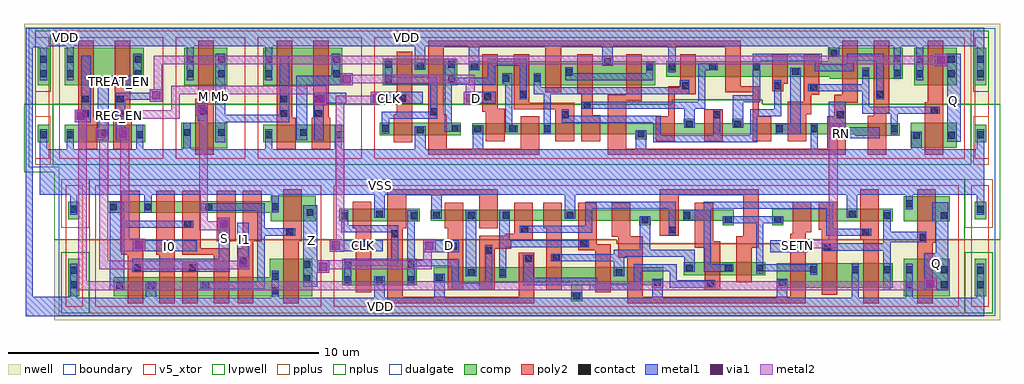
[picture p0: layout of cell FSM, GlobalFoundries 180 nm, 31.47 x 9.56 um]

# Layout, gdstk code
from math import pi, radians
import gdstk
lib = gdstk.Library(unit=1e-6, precision=1e-09)
def R(c, l, rs):  # rectangles x0, y0, x1, y1
    for r in rs: c.add(gdstk.rectangle(r[:2], r[2:], *l))
def A(c, l, x, y, w, h, nx, ny, dx, dy):  # array of equal rectangles
    R(c, l, [(x+i*dx, y+j*dy, x+i*dx+w, y+j*dy+h) for i in range(nx) for j in range(ny)])
def P(c, l, *ps):  # polygons
    for p in ps: c.add(gdstk.Polygon(p, *l))
boundary = (0, 0)
nwell = (21, 0)
comp = (22, 0)
poly2 = (30, 0)
pplus = (31, 0)
nplus = (32, 0)
contact = (33, 0)
metal1 = (34, 0)
via1 = (35, 0)
metal2 = (36, 0)
dualgate = (55, 0)
v5_xtor = (112, 1)
lvpwell = (204, 0)

mux21 = lib.new_cell('mux21')
R(mux21, boundary, [(-14.655,13.69,-7.375,17.61)])
R(mux21, nwell, [(-15.085,13.26,-7.035,15.85)])
P(mux21, comp, [(-14.475,16.45),(-14.475,17.27),(-13.035,17.27),(-13.035,17.09),(-7.775,17.09),(-7.775,16.73),(-13.035,16.73),(-13.035,16.45)],
  [(-14.375,14.03),(-14.375,15.25),(-12.995,15.25),(-12.995,14.645),(-7.975,14.645),(-7.975,14.03)])
R(mux21, poly2, [(-10.675,13.81,-10.175,15.135), (-11.895,15.815,-11.295,17.435)])
P(mux21, poly2, [(-8.915,13.81),(-8.915,15.815),(-8.815,15.815),(-8.815,17.435),(-8.215,17.435),(-8.215,15.375),(-8.415,15.375),(-8.415,13.81)],
  [(-9.935,13.81),(-9.935,17.435),(-9.335,17.435),(-9.335,15.375),(-9.435,15.375),(-9.435,13.81)],
  [(-11.695,13.81),(-11.695,15.575),(-10.775,15.575),(-10.775,17.435),(-10.175,17.435),(-10.175,15.375),(-11.195,15.375),(-11.195,13.81)],
  [(-12.47,13.81),(-12.47,15.815),(-12.735,15.815),(-12.735,17.435),(-12.135,17.435),(-12.135,15.575),(-11.97,15.575),(-11.97,13.81)],
  [(-13.935,13.81),(-13.935,15.815),(-14.035,15.815),(-14.035,17.49),(-13.435,17.49),(-13.435,13.81)])
R(mux21, pplus, [(-14.855,13.49,-7.175,15.85)])
R(mux21, nplus, [(-14.855,15.85,-7.175,17.81)])
R(mux21, contact, [(-13.285,14.1,-13.065,14.32), (-11.045,14.275,-10.825,14.495), (-9.285,14.275,-9.065,14.495), (-8.265,14.275,-8.045,14.495), (-14.305,14.49,-14.085,14.71), (-13.285,14.57,-13.065,14.79), (-10.605,14.845,-10.385,15.065), (-8.845,14.845,-8.625,15.065), (-14.305,14.96,-14.085,15.18), (-12.26,15.085,-12.04,15.305), (-9.795,15.54,-9.575,15.76), (-11.635,15.885,-11.415,16.105), (-13.755,15.99,-13.535,16.21), (-10.465,16.24,-10.245,16.46), (-14.405,16.625,-14.185,16.845), (-11.145,16.8,-10.925,17.02), (-9.185,16.8,-8.965,17.02), (-8.065,16.8,-7.845,17.02), (-13.285,16.805,-13.065,17.025)])
R(mux21, metal1, [(-14.525,14.34,-14.08,16.96), (-12.325,14.9,-11.945,16.4), (-10.645,15.49,-8.585,15.84)])
P(mux21, metal1, [(-9.19,16.73),(-9.19,17.31),(-13.06,17.31),(-13.06,16.745),(-13.29,16.745),(-13.29,17.31),(-14.655,17.31),(-14.655,18.17),(-7.375,18.17),(-7.375,17.31),(-8.96,17.31),(-8.96,16.73)],
  [(-14.655,13.39),(-14.655,13.99),(-13.29,13.99),(-13.29,14.85),(-13.06,14.85),(-13.06,13.99),(-9.345,13.99),(-9.345,14.505),(-9.005,14.505),(-9.005,13.99),(-7.375,13.99),(-7.375,13.39)],
  [(-8.305,14.23),(-8.305,16.235),(-10.53,16.235),(-10.53,16.465),(-8.305,16.465),(-8.305,17.08),(-7.84,17.08),(-7.84,14.23)],
  [(-11.715,14.825),(-11.715,16.165),(-11.36,16.165),(-11.36,15.25),(-8.565,15.25),(-8.565,14.825)],
  [(-12.83,14.27),(-12.83,15.985),(-13.815,15.985),(-13.815,16.22),(-12.83,16.22),(-12.83,17.035),(-10.775,17.035),(-10.775,16.795),(-12.6,16.795),(-12.6,14.5),(-10.765,14.5),(-10.765,14.27)])
R(mux21, dualgate, [(-14.935,13.41,-7.095,18.19)])
R(mux21, v5_xtor, [(-14.655,13.69,-7.375,17.61)])
R(mux21, lvpwell, [(-15.085,15.85,-7.035,18.04)])
mux21.add(gdstk.Label('& Metric 1.00', (-15.115,17.11), layer=63, texttype=63))
mux21.add(gdstk.Label('& Version 2015q2v1', (-15.115,16.61), layer=63, texttype=63))
mux21.add(gdstk.Label('& Product GF018hv5v_mcu_sc7', (-15.115,16.11), layer=63, texttype=63))
mux21.add(gdstk.Label('& Vendor GLOBALFOUNDRIES', (-15.115,15.61), layer=63, texttype=63))
mux21.add(gdstk.Label('VNW', (-14.31,13.69), layer=21, texttype=10))
mux21.add(gdstk.Label('VPW', (-14.315,17.695), layer=204, texttype=10))

inv1 = lib.new_cell('inv1')
R(inv1, boundary, [(-41.18,23.355,-38.94,27.275)])
R(inv1, comp, [(-41,23.695,-39.52,24.515), (-40.9,25.715,-39.52,26.935)])
P(inv1, poly2, [(-40.56,23.475),(-40.56,25.285),(-40.46,25.285),(-40.46,27.155),(-39.96,27.155),(-39.96,23.475)])
R(inv1, pplus, [(-41.38,25.115,-38.74,27.475)])
R(inv1, nplus, [(-41.38,23.155,-38.74,25.115)])
R(inv1, contact, [(-40.93,24.09,-40.71,24.31), (-39.81,24.09,-39.59,24.31), (-40.39,24.775,-40.17,24.995), (-40.39,25.245,-40.17,25.465), (-40.83,25.985,-40.61,26.205), (-39.81,25.985,-39.59,26.205), (-40.83,26.455,-40.61,26.675), (-39.81,26.455,-39.59,26.675)])
R(inv1, metal1, [(-39.915,23.885,-39.585,26.745), (-40.47,24.555,-40.145,25.555)])
P(inv1, metal1, [(-41.18,23.055),(-41.18,23.655),(-40.935,23.655),(-40.935,24.515),(-40.705,24.515),(-40.705,23.655),(-38.94,23.655),(-38.94,23.055)],
  [(-40.835,25.885),(-40.835,26.975),(-41.18,26.975),(-41.18,27.575),(-38.94,27.575),(-38.94,26.975),(-40.605,26.975),(-40.605,25.885)])
R(inv1, dualgate, [(-41.46,23.075,-38.66,27.555)])
R(inv1, v5_xtor, [(-41.18,23.355,-38.94,27.275)])
R(inv1, lvpwell, [(-41.61,22.925,-38.51,25.115)])
inv1.add(gdstk.Label('& Vendor GLOBALFOUNDRIES', (-41.18,25.355), layer=63, texttype=63))
inv1.add(gdstk.Label('& Product GF018hv5v_mcu_sc7', (-41.18,24.855), layer=63, texttype=63))
inv1.add(gdstk.Label('& Version 2015q2v1', (-41.18,24.355), layer=63, texttype=63))
inv1.add(gdstk.Label('& Metric 1.00', (-41.18,23.855), layer=63, texttype=63))
inv1.add(gdstk.Label('VNW', (-40.835,27.275), layer=21, texttype=10))
inv1.add(gdstk.Label('VPW', (-40.84,23.27), layer=204, texttype=10))

nor2_2 = lib.new_cell('nor2_2')
R(nor2_2, boundary, [(-19.745,7.125,-16.385,11.045)])
R(nor2_2, nwell, [(-20.175,8.885,-16.185,11.475)])
R(nor2_2, comp, [(-19.565,7.65,-16.965,8.215), (-19.565,9.485,-17.015,10.705)])
P(nor2_2, poly2, [(-19.125,7.43),(-19.125,10.925),(-18.625,10.925),(-18.625,8.44),(-18.525,8.44),(-18.525,7.43)],
  [(-18.005,7.43),(-18.005,8.44),(-17.955,8.44),(-17.955,10.925),(-17.455,10.925),(-17.455,8.44),(-17.405,8.44),(-17.405,7.43)])
R(nor2_2, pplus, [(-19.945,8.885,-16.185,11.245)])
R(nor2_2, nplus, [(-19.945,6.925,-16.185,8.885)])
R(nor2_2, contact, [(-19.495,7.79,-19.275,8.01), (-17.255,7.79,-17.035,8.01), (-18.375,7.86,-18.155,8.08), (-19.005,8.47,-18.785,8.69), (-17.885,8.47,-17.665,8.69), (-19.005,8.94,-18.785,9.16), (-17.885,8.94,-17.665,9.16), (-19.495,9.755,-19.275,9.975), (-17.305,9.755,-17.085,9.975), (-19.495,10.225,-19.275,10.445), (-17.305,10.225,-17.085,10.445)])
R(nor2_2, metal1, [(-19.04,8.305,-18.735,10.445)])
P(nor2_2, metal1, [(-18.505,7.725),(-18.505,9.805),(-17.36,9.805),(-17.36,10.505),(-17.08,10.505),(-17.08,9.485),(-18.15,9.485),(-18.15,7.725)],
  [(-17.92,7.725),(-17.92,9.255),(-16.89,9.255),(-16.89,8.915),(-17.615,8.915),(-17.615,7.725)],
  [(-19.745,6.825),(-19.745,7.425),(-19.5,7.425),(-19.5,8.07),(-19.27,8.07),(-19.27,7.425),(-17.26,7.425),(-17.26,8.215),(-17.03,8.215),(-17.03,7.425),(-16.385,7.425),(-16.385,6.825)],
  [(-19.5,9.655),(-19.5,10.745),(-19.745,10.745),(-19.745,11.345),(-16.385,11.345),(-16.385,10.745),(-19.27,10.745),(-19.27,9.655)])
R(nor2_2, dualgate, [(-20.025,6.845,-16.105,11.325)])
R(nor2_2, v5_xtor, [(-19.745,7.125,-16.385,11.045)])
R(nor2_2, lvpwell, [(-20.175,6.695,-15.955,8.885)])
nor2_2.add(gdstk.Label('& Metric 1.00', (-19.745,7.625), layer=63, texttype=63))
nor2_2.add(gdstk.Label('& Version 2015q2v1', (-19.745,8.125), layer=63, texttype=63))
nor2_2.add(gdstk.Label('& Product GF018hv5v_mcu_sc7', (-19.745,8.625), layer=63, texttype=63))
nor2_2.add(gdstk.Label('& Vendor GLOBALFOUNDRIES', (-19.745,9.125), layer=63, texttype=63))

dffsnq = lib.new_cell('dffsnq')
R(dffsnq, boundary, [(15.93,14.02,36.09,17.94)])
P(dffsnq, nwell, [(15.73,13.59),(15.73,16.18),(25.065,16.18),(25.065,16.055),(31.095,16.055),(31.095,16.18),(36.52,16.18),(36.52,13.59)])
R(dffsnq, comp, [(34.315,14.365,35.795,15.58), (30.215,14.64,33.955,15.42), (16.21,14.715,18.61,15.58), (27.225,15.04,29.855,15.455), (16.11,16.78,18.71,17.185), (34.315,16.78,35.795,17.595)])
P(dffsnq, comp, [(30.075,16.655),(30.075,17.185),(33.955,17.185),(33.955,16.78),(30.435,16.78),(30.435,16.655)],
  [(25.795,16.655),(25.795,16.8),(19.07,16.8),(19.07,17.16),(28.835,17.16),(28.835,16.655),(28.475,16.655),(28.475,16.8),(26.155,16.8),(26.155,16.655)],
  [(23.595,14.2),(23.595,14.8),(19.16,14.8),(19.16,15.305),(26.555,15.305),(26.555,14.64),(26.195,14.64),(26.195,14.72),(23.955,14.72),(23.955,14.2)])
P(dffsnq, poly2, [(34.755,14.14),(34.755,17.82),(35.355,17.82),(35.355,16.09),(35.255,16.09),(35.255,14.14)],
  [(33.015,14.14),(33.015,16.185),(32.915,16.185),(32.915,17.82),(33.515,17.82),(33.515,14.14)],
  [(31.675,14.42),(31.675,16.5),(31.575,16.5),(31.575,17.405),(32.175,17.405),(32.175,14.42)],
  [(25.395,14.14),(25.395,15.605),(25.115,15.605),(25.115,16.285),(24.895,16.285),(24.895,17.38),(25.495,17.38),(25.495,16.305),(25.895,16.305),(25.895,14.34),(30.655,14.34),(30.655,16.385),(30.735,16.385),(30.735,17.405),(31.335,17.405),(31.335,16.435),(31.155,16.435),(31.155,14.14)],
  [(28.915,14.82),(28.915,16.305),(29.135,16.305),(29.135,17.62),(27.055,17.62),(27.055,16.32),(26.455,16.32),(26.455,17.82),(29.635,17.82),(29.635,15.935),(29.415,15.935),(29.415,14.82)],
  [(27.895,14.58),(27.895,15.935),(27.575,15.935),(27.575,17.38),(28.175,17.38),(28.175,16.135),(28.395,16.135),(28.395,14.58)],
  [(24.375,14.5),(24.375,15.845),(23.815,15.845),(23.815,17.38),(24.415,17.38),(24.415,16.045),(24.875,16.045),(24.875,14.5)],
  [(22.795,14.58),(22.795,16.56),(22.695,16.56),(22.695,17.38),(23.295,17.38),(23.295,14.58)],
  [(17.67,14.14),(17.67,17.82),(21.23,17.82),(21.23,16.56),(20.63,16.56),(20.63,17.62),(18.27,17.62),(18.27,16.56),(18.17,16.56),(18.17,14.34),(21.895,14.34),(21.895,15.765),(22.395,15.765),(22.395,14.14)],
  [(20.63,14.58),(20.63,16.32),(21.465,16.32),(21.465,16.385),(21.75,16.385),(21.75,17.38),(22.35,17.38),(22.35,16.185),(21.665,16.185),(21.665,15.89),(21.13,15.89),(21.13,14.58)],
  [(19.61,14.58),(19.61,16.56),(19.51,16.56),(19.51,17.38),(20.11,17.38),(20.11,14.58)],
  [(16.65,14.49),(16.65,16.56),(16.55,16.56),(16.55,17.405),(17.15,17.405),(17.15,14.49)])
P(dffsnq, pplus, [(15.73,13.82),(15.73,16.18),(25.065,16.18),(25.065,16.055),(31.095,16.055),(31.095,16.18),(36.29,16.18),(36.29,13.82)])
P(dffsnq, nplus, [(25.065,16.055),(25.065,16.18),(15.73,16.18),(15.73,18.14),(36.29,18.14),(36.29,16.18),(31.095,16.18),(31.095,16.055)])
A(dffsnq, contact, 16.28, 14.785, 0.22, 0.22, 3, 1, 1.02, 0)
A(dffsnq, contact, 19.14, 16.87, 0.22, 0.22, 3, 1, 1.12, 0)
R(dffsnq, contact, [(23.665,14.27,23.885,14.49), (34.385,14.62,34.605,14.84), (35.505,14.62,35.725,14.84), (27.965,14.65,28.185,14.87), (26.265,14.71,26.485,14.93), (30.285,14.71,30.505,14.93), (19.23,14.87,19.45,15.09), (20.26,15.015,20.48,15.235), (21.28,15.015,21.5,15.235), (25.025,15.015,25.245,15.235), (32.645,15.11,32.865,15.33), (33.665,15.11,33.885,15.33), (34.385,15.11,34.605,15.33), (35.505,15.11,35.725,15.33), (31.305,15.115,31.525,15.335), (27.295,15.165,27.515,15.385), (28.545,15.165,28.765,15.385), (29.565,15.165,29.785,15.385), (16.28,15.255,16.5,15.475), (18.32,15.275,18.54,15.495), (22.105,15.475,22.325,15.695), (23.005,15.49,23.225,15.71), (20.82,15.73,21.04,15.95), (31.745,15.85,31.965,16.07), (19.68,15.87,19.9,16.09), (30.725,15.87,30.945,16.09), (16.72,15.915,16.94,16.135), (23.885,15.95,24.105,16.17), (34.825,16.16,35.045,16.38), (17.795,16.265,18.015,16.485), (32.985,16.315,33.205,16.535), (26.745,16.39,26.965,16.61), (21.99,16.41,22.21,16.63), (25.865,16.725,26.085,16.945), (28.545,16.725,28.765,16.945), (30.145,16.725,30.365,16.945), (16.18,16.85,16.4,17.07), (18.42,16.85,18.64,17.07), (33.665,16.855,33.885,17.075), (35.505,16.855,35.725,17.075), (23.445,16.87,23.665,17.09), (27.205,16.87,27.425,17.09), (17.3,16.895,17.52,17.115), (32.545,16.895,32.765,17.115), (34.385,17.235,34.605,17.455)])
R(dffsnq, metal1, [(20.2,15.01,20.54,17.15), (18.82,15.79,19.96,16.17), (30.02,15.79,31.215,16.17), (16.205,15.81,17.52,16.175)])
P(dffsnq, metal1, [(19.08,16.865),(19.08,17.64),(17.58,17.64),(17.58,16.89),(17.24,16.89),(17.24,17.64),(15.93,17.64),(15.93,18.5),(36.09,18.5),(36.09,17.64),(34.61,17.64),(34.61,17.175),(34.38,17.175),(34.38,17.64),(32.825,17.64),(32.825,16.89),(32.485,16.89),(32.485,17.64),(23.725,17.64),(23.725,16.865),(23.385,16.865),(23.385,17.64),(19.42,17.64),(19.42,16.865)],
  [(15.93,13.72),(15.93,14.32),(17.24,14.32),(17.24,15.01),(17.58,15.01),(17.58,14.32),(19.17,14.32),(19.17,15.095),(19.51,15.095),(19.51,14.32),(23.605,14.32),(23.605,14.495),(23.945,14.495),(23.945,14.32),(26.205,14.32),(26.205,14.935),(26.545,14.935),(26.545,14.32),(30.225,14.32),(30.225,14.935),(30.565,14.935),(30.565,14.32),(32.64,14.32),(32.64,15.41),(32.87,15.41),(32.87,14.32),(34.38,14.32),(34.38,15.41),(34.61,15.41),(34.61,14.32),(36.09,14.32),(36.09,13.72)],
  [(34.975,14.56),(34.975,15.75),(35.355,15.75),(35.355,16.78),(35.23,16.78),(35.23,17.39),(35.745,17.39),(35.745,14.56)],
  [(33.66,14.56),(33.66,15.835),(31.685,15.835),(31.685,16.08),(33.66,16.08),(33.66,17.135),(33.89,17.135),(33.89,16.44),(35.05,16.44),(35.05,16.1),(33.89,16.1),(33.89,14.56)],
  [(27.86,15.16),(27.86,16.81),(27.2,16.81),(27.2,17.15),(27.86,17.15),(27.86,17.41),(32.04,17.41),(32.04,16.545),(33.265,16.545),(33.265,16.31),(31.81,16.31),(31.81,17.18),(28.09,17.18),(28.09,15.39),(28.825,15.39),(28.825,15.16)],
  [(31.3,15.055),(31.3,15.165),(29.79,15.165),(29.79,15.095),(29.56,15.095),(29.56,16.72),(28.485,16.72),(28.485,16.95),(30.425,16.95),(30.425,16.72),(29.79,16.72),(29.79,15.4),(31.53,15.4),(31.53,15.055)],
  [(24.2,14.55),(24.2,14.725),(22.045,14.725),(22.045,15.7),(22.385,15.7),(22.385,14.955),(24.43,14.955),(24.43,14.78),(25.615,14.78),(25.615,15.4),(27.005,15.4),(27.005,14.875),(28.245,14.875),(28.245,14.645),(26.775,14.645),(26.775,15.165),(25.845,15.165),(25.845,14.55)],
  [(24.965,15.01),(24.965,15.485),(22.945,15.485),(22.945,15.715),(24.965,15.715),(24.965,15.86),(25.805,15.86),(25.805,16.95),(26.145,16.95),(26.145,15.86),(27.575,15.86),(27.575,15.16),(27.235,15.16),(27.235,15.63),(25.305,15.63),(25.305,15.01)],
  [(26.74,16.325),(26.74,17.18),(24.27,17.18),(24.27,16.405),(21.93,16.405),(21.93,16.635),(24.04,16.635),(24.04,17.41),(26.97,17.41),(26.97,16.325)],
  [(21.275,14.955),(21.275,17.15),(21.605,17.15),(21.605,16.175),(24.165,16.175),(24.165,15.945),(21.505,15.945),(21.505,14.955)],
  [(19.74,14.55),(19.74,15.325),(18.545,15.325),(18.545,14.715),(18.315,14.715),(18.315,17.13),(18.645,17.13),(18.645,16.79),(18.55,16.79),(18.55,15.56),(19.97,15.56),(19.97,14.78),(20.815,14.78),(20.815,16.01),(21.045,16.01),(21.045,14.55)],
  [(16.275,14.715),(16.275,15.58),(17.79,15.58),(17.79,16.43),(16.175,16.43),(16.175,17.13),(16.405,17.13),(16.405,16.66),(18.02,16.66),(18.02,15.345),(16.505,15.345),(16.505,14.715)])
R(dffsnq, dualgate, [(15.65,13.74,36.37,18.52)])
R(dffsnq, v5_xtor, [(15.93,14.02,36.09,17.94)])
P(dffsnq, lvpwell, [(25.065,16.055),(25.065,16.18),(15.5,16.18),(15.5,18.37),(36.52,18.37),(36.52,16.18),(31.095,16.18),(31.095,16.055)])
dffsnq.add(gdstk.Label('& Metric 1.00', (16.39,17.44), layer=63, texttype=63))
dffsnq.add(gdstk.Label('& Version 2015q2v1', (16.39,16.94), layer=63, texttype=63))
dffsnq.add(gdstk.Label('& Product GF018hv5v_mcu_sc7', (16.39,16.44), layer=63, texttype=63))
dffsnq.add(gdstk.Label('& Vendor GLOBALFOUNDRIES', (16.39,15.94), layer=63, texttype=63))
dffsnq.add(gdstk.Label('VNW', (16.275,14.02), layer=21, texttype=10))
dffsnq.add(gdstk.Label('VPW', (16.27,18.025), layer=204, texttype=10))

nor2_1 = lib.new_cell('nor2_1')
R(nor2_1, boundary, [(-25.765,18.49,-22.405,22.41)])
R(nor2_1, nwell, [(-26.195,20.25,-21.975,22.84)])
R(nor2_1, comp, [(-25.585,19.015,-22.985,19.58), (-25.585,20.85,-23.035,22.07)])
P(nor2_1, poly2, [(-25.145,18.795),(-25.145,22.29),(-24.645,22.29),(-24.645,19.805),(-24.545,19.805),(-24.545,18.795)],
  [(-24.025,18.795),(-24.025,19.805),(-23.975,19.805),(-23.975,22.29),(-23.475,22.29),(-23.475,19.805),(-23.425,19.805),(-23.425,18.795)])
R(nor2_1, pplus, [(-25.965,20.25,-22.205,22.61)])
R(nor2_1, nplus, [(-25.965,18.29,-22.205,20.25)])
R(nor2_1, contact, [(-25.515,19.155,-25.295,19.375), (-23.275,19.155,-23.055,19.375), (-24.395,19.225,-24.175,19.445), (-25.025,19.835,-24.805,20.055), (-23.905,19.835,-23.685,20.055), (-25.025,20.305,-24.805,20.525), (-23.905,20.305,-23.685,20.525), (-25.515,21.12,-25.295,21.34), (-23.325,21.12,-23.105,21.34), (-25.515,21.59,-25.295,21.81), (-23.325,21.59,-23.105,21.81)])
R(nor2_1, metal1, [(-25.06,19.67,-24.755,21.81)])
P(nor2_1, metal1, [(-23.94,19.09),(-23.94,20.62),(-23.635,20.62),(-23.635,20.28),(-23.635,19.09)],
  [(-25.52,21.02),(-25.52,22.11),(-25.765,22.11),(-25.765,22.71),(-22.415,22.71),(-22.415,22.11),(-25.29,22.11),(-25.29,21.02)],
  [(-25.765,18.19),(-25.765,18.79),(-25.52,18.79),(-25.52,19.435),(-25.29,19.435),(-25.29,18.79),(-23.28,18.79),(-23.28,19.58),(-23.05,19.58),(-23.05,18.79),(-22.415,18.79),(-22.415,18.19)],
  [(-24.525,19.09),(-24.525,21.17),(-23.38,21.17),(-23.38,21.87),(-23.1,21.87),(-23.1,20.85),(-24.17,20.85),(-24.17,19.09)])
R(nor2_1, dualgate, [(-26.045,18.21,-22.125,22.69)])
R(nor2_1, v5_xtor, [(-25.765,18.49,-22.405,22.41)])
R(nor2_1, lvpwell, [(-26.195,18.06,-21.975,20.25)])

tap = lib.new_cell('tap')
R(tap, boundary, [(0.635,0.43,1.195,4.35)])
R(tap, nwell, [(0.265,0,1.395,2.59)])
R(tap, comp, [(0.715,0.77,1.075,1.99), (0.715,3.26,1.075,3.825)])
R(tap, pplus, [(0.495,2.99,1.395,4.55)])
R(tap, nplus, [(0.495,0.23,1.395,2.19)])
R(tap, contact, [(0.785,1.03,1.005,1.25), (0.785,1.5,1.005,1.72), (0.785,3.465,1.005,3.685)])
P(tap, metal1, [(0.78,0.13),(0.78,0.73),(0.78,1.82),(1.01,1.82),(1.01,0.73),(1.255,0.73),(1.255,0.13)],
  [(0.78,3.405),(0.78,4.05),(0.78,4.91),(1.255,4.91),(1.255,4.05),(1.01,4.05),(1.01,3.405)])
R(tap, dualgate, [(0.415,0.15,1.475,4.93)])
R(tap, v5_xtor, [(0.635,0.43,1.195,4.35)])
R(tap, lvpwell, [(0.265,2.59,1.395,4.78)])

dffrnq = lib.new_cell('dffrnq')
R(dffrnq, boundary, [(-4.465,11.575,14.575,15.495)])
P(dffrnq, nwell, [(-4.665,13.335),(-4.665,15.925),(15.005,15.925),(15.005,13.335),(8.05,13.335),(8.05,13.47),(5.135,13.47),(5.135,13.335)])
R(dffrnq, comp, [(12.84,11.92,14.32,12.735), (-4.285,12.33,-1.685,12.735), (-4.185,13.935,-1.785,14.8), (12.94,13.935,14.32,15.15)])
P(dffrnq, comp, [(10.22,14.155),(10.22,14.21),(4.955,14.21),(4.955,14.715),(10.18,14.715),(10.18,15.155),(12.58,15.155),(12.58,14.155)],
  [(3.955,12.195),(3.955,12.355),(-1.305,12.355),(-1.305,12.715),(5.515,12.715),(5.515,12.87),(5.875,12.87),(5.875,12.715),(7.075,12.715),(7.075,12.87),(7.435,12.87),(7.435,12.715),(12.48,12.715),(12.48,12.315),(11.04,12.315),(11.04,12.355),(4.315,12.355),(4.315,12.195)],
  [(-1.425,13.935),(-1.425,14.715),(2.875,14.715),(2.875,14.875),(3.235,14.875),(3.235,14.715),(4.595,14.715),(4.595,13.935)])
R(dffrnq, poly2, [(6.175,12.135,6.775,13.175)])
P(dffrnq, poly2, [(13.28,11.695),(13.28,13.395),(13.38,13.395),(13.38,15.375),(13.88,15.375),(13.88,11.695)],
  [(11.44,11.695),(11.44,12.955),(11.64,12.955),(11.64,15.375),(12.14,15.375),(12.14,13.035),(12.04,13.035),(12.04,11.695)],
  [(3.055,11.695),(3.055,13.635),(3.655,13.635),(3.655,14.935),(4.155,14.935),(4.155,13.435),(3.655,13.435),(3.655,11.895),(10.14,11.895),(10.14,12.935),(10.36,12.935),(10.36,13.635),(10.62,13.635),(10.62,15.375),(11.12,15.375),(11.12,13.38),(10.74,13.38),(10.74,11.695)],
  [(8.86,12.135),(8.86,13.415),(9.38,13.415),(9.38,14.935),(9.88,14.935),(9.88,13.635),(9.62,13.635),(9.62,13.015),(9.46,13.015),(9.46,12.135)],
  [(8.36,13.75),(8.36,14.935),(8.86,14.935),(8.86,13.99),(8.72,13.99),(8.72,13.75)],
  [(-2.725,11.695),(-2.725,15.375),(7.355,15.375),(7.355,13.91),(7.935,13.91),(7.935,12.935),(8.335,12.935),(8.335,12.135),(7.735,12.135),(7.735,13.71),(6.855,13.71),(6.855,15.175),(1.555,15.175),(1.555,13.715),(1.055,13.715),(1.055,15.175),(-2.225,15.175),(-2.225,13.015),(-2.125,13.015),(-2.125,11.895),(0.255,11.895),(0.255,12.935),(0.855,12.935),(0.855,11.695)],
  [(4.615,12.135),(4.615,12.935),(5.015,12.935),(5.015,13.91),(5.395,13.91),(5.395,14.935),(5.895,14.935),(5.895,13.645),(5.215,13.645),(5.215,12.135)],
  [(2.215,12.135),(2.215,13.69),(2.075,13.69),(2.075,14.935),(2.575,14.935),(2.575,12.975),(2.815,12.975),(2.815,12.135)],
  [(1.375,12.135),(1.375,13.175),(0.035,13.175),(0.035,14.935),(0.535,14.935),(0.535,13.375),(1.975,13.375),(1.975,12.135)],
  [(-0.865,12.135),(-0.865,13.085),(-0.985,13.085),(-0.985,14.935),(-0.485,14.935),(-0.485,13.185),(-0.265,13.185),(-0.265,12.135)],
  [(-3.845,12.11),(-3.845,13.015),(-3.745,13.015),(-3.745,15.025),(-3.245,15.025),(-3.245,12.11)])
P(dffrnq, pplus, [(-4.665,13.335),(-4.665,15.695),(14.775,15.695),(14.775,13.335),(8.05,13.335),(8.05,13.47),(5.135,13.47),(5.135,13.335)])
P(dffrnq, nplus, [(-4.665,11.375),(-4.665,13.335),(5.135,13.335),(5.135,13.47),(8.05,13.47),(8.05,13.335),(14.775,13.335),(14.775,11.375)])
A(dffrnq, contact, -1.235, 12.425, 0.22, 0.22, 3, 1, 1.12, 0)
R(dffrnq, contact, [(12.91,12.225,13.13,12.445), (14.03,12.225,14.25,12.445), (4.025,12.265,4.245,12.485), (-3.095,12.4,-2.875,12.62), (8.49,12.425,8.71,12.645), (9.61,12.425,9.83,12.645), (12.19,12.425,12.41,12.645), (-4.215,12.445,-3.995,12.665), (-1.975,12.445,-1.755,12.665), (5.585,12.58,5.805,12.8), (7.145,12.58,7.365,12.8), (1.585,12.885,1.805,13.105), (6.465,12.885,6.685,13.105), (10.45,12.885,10.67,13.105), (-2.655,12.98,-2.435,13.2), (13.485,13.03,13.705,13.25), (2.285,13.19,2.505,13.41), (-3.675,13.41,-3.455,13.63), (-0.915,13.46,-0.695,13.68), (0.225,13.545,0.445,13.765), (11.73,13.545,11.95,13.765), (9.59,13.755,9.81,13.975), (5.465,13.82,5.685,14.04), (8.43,13.82,8.65,14.04), (-4.115,14.04,-3.895,14.26), (-2.075,14.04,-1.855,14.26), (-0.335,14.055,-0.115,14.275), (0.685,14.055,0.905,14.275), (13.01,14.205,13.23,14.425), (14.03,14.205,14.25,14.425), (11.27,14.225,11.49,14.445), (12.29,14.225,12.51,14.445), (1.705,14.25,1.925,14.47), (9.01,14.28,9.23,14.5), (-1.355,14.425,-1.135,14.645), (4.305,14.425,4.525,14.645), (5.025,14.425,5.245,14.645), (6.335,14.425,6.555,14.645), (7.75,14.425,7.97,14.645), (-3.095,14.445,-2.875,14.665), (-4.115,14.51,-3.895,14.73), (-2.075,14.51,-1.855,14.73), (2.945,14.585,3.165,14.805), (13.01,14.675,13.23,14.895), (14.03,14.675,14.25,14.895), (12.29,14.695,12.51,14.915), (10.25,14.86,10.47,15.08)])
R(dffrnq, metal1, [(14.01,12.125,14.445,14.955), (-4.185,13.345,-2.895,13.725), (-1.575,13.345,-0.545,13.725)])
P(dffrnq, metal1, [(13.005,14.105),(13.005,15.195),(12.515,15.195),(12.515,14.165),(12.285,14.165),(12.285,15.195),(10.53,15.195),(10.53,14.855),(10.19,14.855),(10.19,15.195),(5.25,15.195),(5.25,14.365),(5.02,14.365),(5.02,15.195),(3.225,15.195),(3.225,14.565),(2.885,14.565),(2.885,15.195),(-1.075,15.195),(-1.075,14.42),(-1.415,14.42),(-1.415,15.195),(-2.815,15.195),(-2.815,14.44),(-3.155,14.44),(-3.155,15.195),(-4.465,15.195),(-4.465,15.795),(14.575,15.795),(14.575,15.195),(13.235,15.195),(13.235,14.105)],
  [(-4.465,11.275),(-4.465,11.875),(-3.155,11.875),(-3.155,12.625),(-2.81,12.625),(-2.81,11.875),(-1.295,11.875),(-1.295,12.65),(-0.955,12.65),(-0.955,11.875),(3.965,11.875),(3.965,12.49),(4.305,12.49),(4.305,11.875),(9.605,11.875),(9.605,12.705),(9.835,12.705),(9.835,11.875),(12.85,11.875),(12.85,12.45),(13.19,12.45),(13.19,11.875),(14.575,11.875),(14.575,11.275)],
  [(12.185,12.365),(12.185,13.025),(11.265,13.025),(11.265,13.75),(9.53,13.75),(9.53,13.98),(11.265,13.98),(11.265,14.505),(11.495,14.505),(11.495,13.255),(13.765,13.255),(13.765,13.025),(12.415,13.025),(12.415,12.365)],
  [(7.085,12.575),(7.085,13.625),(7.745,13.625),(7.745,14.965),(9.96,14.965),(9.96,14.625),(10.77,14.625),(10.77,14.965),(11.955,14.965),(11.955,13.485),(11.725,13.485),(11.725,14.735),(11,14.735),(11,14.395),(9.73,14.395),(9.73,14.735),(7.975,14.735),(7.975,13.395),(7.425,13.395),(7.425,12.575)],
  [(10.195,12.235),(10.195,13.405),(10.74,13.405),(10.74,12.595),(11.83,12.595),(11.83,12.235)],
  [(8.485,12.365),(8.485,12.705),(8.95,12.705),(8.95,14.505),(9.29,14.505),(9.29,12.365)],
  [(4.535,12.105),(4.535,12.725),(1.58,12.725),(1.58,13.165),(1.81,13.165),(1.81,12.955),(4.765,12.955),(4.765,12.335),(6.46,12.335),(6.46,13.165),(6.69,13.165),(6.69,12.335),(7.655,12.335),(7.655,13.165),(8.425,13.165),(8.425,14.1),(8.655,14.1),(8.655,12.935),(7.885,12.935),(7.885,12.105)],
  [(5.525,12.575),(5.525,13.185),(2.225,13.185),(2.225,13.415),(5.975,13.415),(5.975,14.65),(6.615,14.65),(6.615,14.42),(6.205,14.42),(6.205,13.185),(5.865,13.185),(5.865,12.575)],
  [(1,12.365),(1,13.645),(0.68,13.645),(0.68,14.335),(0.91,14.335),(0.91,13.875),(5.39,13.875),(5.39,14.1),(5.69,14.1),(5.69,13.645),(1.23,13.645),(1.23,12.365)],
  [(1.7,14.105),(1.7,14.53),(1.93,14.53),(1.93,14.335),(4.3,14.335),(4.3,14.705),(4.53,14.705),(4.53,14.105)],
  [(-2.2,12.44),(-2.2,14.79),(-1.85,14.79),(-1.85,14.19),(-0.8,14.19),(-0.8,14.795),(0.45,14.795),(0.45,13.485),(0.22,13.485),(0.22,14.565),(-0.57,14.565),(-0.57,13.96),(-1.97,13.96),(-1.97,12.67),(-1.695,12.67),(-1.695,12.44)],
  [(-0.24,12.42),(-0.24,13.995),(-0.34,13.995),(-0.34,14.335),(-0.01,14.335),(-0.01,12.65),(0.165,12.65),(0.165,12.42)],
  [(-4.22,12.385),(-4.22,13.085),(-2.66,13.085),(-2.66,13.98),(-4.12,13.98),(-4.12,14.8),(-3.89,14.8),(-3.89,14.21),(-2.43,14.21),(-2.43,12.855),(-3.99,12.855),(-3.99,12.385)])
R(dffrnq, dualgate, [(-4.745,11.295,14.855,15.775)])
R(dffrnq, v5_xtor, [(-4.465,11.575,14.575,15.495)])
P(dffrnq, lvpwell, [(-4.895,11.145),(-4.895,13.335),(5.135,13.335),(5.135,13.47),(8.05,13.47),(8.05,13.335),(15.005,13.335),(15.005,11.145)])
dffrnq.add(gdstk.Label('& Metric 1.00', (-4.465,12.075), layer=63, texttype=63))
dffrnq.add(gdstk.Label('& Version 2015q2v1', (-4.465,12.575), layer=63, texttype=63))
dffrnq.add(gdstk.Label('& Product GF018hv5v_mcu_sc7', (-4.465,13.075), layer=63, texttype=63))
dffrnq.add(gdstk.Label('& Vendor GLOBALFOUNDRIES', (-4.465,13.575), layer=63, texttype=63))
dffrnq.add(gdstk.Label('VNW', (-4.12,15.495), layer=21, texttype=10))
dffrnq.add(gdstk.Label('VPW', (-4.125,11.49), layer=204, texttype=10))

tap2 = lib.new_cell('tap2')
R(tap2, boundary, [(-2.38,0.43,-1.935,4.35)])
R(tap2, nwell, [(-2.42,2.19,-1.565,4.78)])
R(tap2, comp, [(-2.375,0.955,-2.015,1.52), (-2.375,2.79,-2.015,4.01)])
R(tap2, pplus, [(-2.42,0.23,-1.935,1.79)])
R(tap2, nplus, [(-2.42,2.59,-1.935,4.55)])
R(tap2, contact, [(-2.305,1.095,-2.085,1.315), (-2.305,3.06,-2.085,3.28), (-2.305,3.53,-2.085,3.75)])
P(tap2, metal1, [(-2.44,0.13),(-2.44,0.73),(-2.31,0.73),(-2.31,1.375),(-2.08,1.375),(-2.08,0.73),(-2.08,0.13)],
  [(-2.31,2.96),(-2.31,4.05),(-2.44,4.05),(-2.44,4.65),(-2.08,4.65),(-2.08,4.05),(-2.08,2.96)])
R(tap2, dualgate, [(-2.5,0.15,-1.715,4.63)])
R(tap2, v5_xtor, [(-2.38,0.43,-1.935,4.35)])
R(tap2, lvpwell, [(-2.42,0,-1.565,2.19)])

via_dev = lib.new_cell('via_dev')
R(via_dev, metal1, [(0,0,0.4,0.4)])
R(via_dev, via1, [(0.07,0.07,0.33,0.33)])
R(via_dev, metal2, [(0,0,0.4,0.4)])

fsm = lib.new_cell('FSM')
R(fsm, boundary, [(14.35,6.365,14.91,10.285), (-15.82,11.145,-15.375,15.065)])
R(fsm, nwell, [(14.15,5.935,15.28,8.525), (-16.19,12.905,-15.335,15.495), (-11.495,12.905,-8.855,15.495)])
R(fsm, comp, [(14.47,6.705,14.83,7.925), (14.47,9.195,14.83,9.76), (-15.74,11.67,-15.38,12.235), (-15.74,13.505,-15.38,14.725)])
R(fsm, pplus, [(14.15,8.925,15.05,10.485), (-15.82,10.945,-15.335,12.505)])
R(fsm, nplus, [(14.15,6.165,15.05,8.125), (-15.82,13.305,-15.335,15.265)])
R(fsm, contact, [(14.54,6.965,14.76,7.185), (14.54,7.435,14.76,7.655), (14.54,9.4,14.76,9.62), (-15.67,11.81,-15.45,12.03), (-15.67,13.775,-15.45,13.995), (-15.67,14.245,-15.45,14.465)])
R(fsm, metal1, [(-16.135,6.065,-14.705,6.685), (-14.23,6.065,-13.89,6.665), (-6.61,6.065,-6.21,6.665), (13.95,6.065,14.29,6.665), (-16.135,6.685,-15.905,14.745), (-15.675,9.985,-14.705,10.845), (-15.675,9.985,14.765,11.44), (-14.23,9.985,-13.89,10.845), (-6.61,9.985,-6.21,10.845), (13.95,9.985,14.29,10.845), (-15.395,10.845,-15.055,11.445), (-11.705,10.845,-11.295,11.445), (-9.055,10.845,-8.655,11.445), (-5.295,10.845,-4.895,11.445), (14.145,10.845,14.405,11.445), (-9.7,12.325,-7.95,12.555), (-12.925,13.045,-12.13,13.275), (-16.135,14.745,-15.675,15.365), (-15.395,14.765,-15.055,15.365), (-11.705,14.765,-11.295,15.365), (-9.055,14.765,-8.655,15.365), (-5.295,14.765,-4.895,15.365), (14.145,14.765,14.405,15.365)])
P(fsm, metal1, [(14.535,9.34),(14.535,9.985),(14.29,9.985),(14.29,10.845),(14.765,10.845),(14.765,9.985),(14.765,9.34)],
  [(14.29,6.065),(14.29,6.665),(14.535,6.665),(14.535,7.755),(14.765,7.755),(14.765,6.665),(14.765,6.065)],
  [(-15.675,10.845),(-15.675,11.445),(-15.675,12.09),(-15.445,12.09),(-15.445,11.445),(-15.395,11.445),(-15.395,10.845)],
  [(-15.675,13.675),(-15.675,14.765),(-15.675,15.365),(-15.395,15.365),(-15.395,14.765),(-15.445,14.765),(-15.445,13.675)])
R(fsm, metal2, [(-14.44,6.905,12.835,7.185), (-14.44,7.185,-14.16,12.325), (-13.76,7.575,-9.32,7.855), (-6.34,7.585,-3.32,7.865), (-3.32,7.585,-3.04,8.135), (-13.76,7.855,-13.48,11.745), (-6.145,8.145,-5.865,12.895), (-13.08,8.165,-12.8,11.745), (-12.8,8.165,-12.68,8.565), (9.075,8.255,9.765,8.535), (9.765,8.255,10.045,11.805), (-10.54,8.84,-10.26,12.535), (-10.26,8.84,-9.95,9.12), (-13.76,12.145,-13.48,12.705), (-13.48,12.425,-11.17,12.705), (-11.45,12.705,-11.17,13.215), (-6.145,12.895,-5.015,13.175), (-11.45,13.215,-6.43,13.495), (-1.94,13.295,-1.66,13.575), (-12.01,13.385,-11.73,14.47), (-5.59,13.575,-1.66,13.855), (-11.73,14.19,13.18,14.47)])
R(fsm, dualgate, [(14.07,6.085,15.13,10.865), (-16.04,10.865,-15.255,15.345)])
R(fsm, v5_xtor, [(14.35,6.365,14.91,10.285), (-15.82,11.145,-15.375,15.065)])
R(fsm, lvpwell, [(14.15,8.525,15.28,10.715), (-16.19,10.715,-15.335,12.905)])
fsm.add(gdstk.Reference(mux21, (-21.265,-7.325), rotation=pi, x_reflection=True))
fsm.add(gdstk.Reference(inv1, (29.885,-12.21)))
fsm.add(gdstk.Reference(nor2_2, (11.09,4.02)))
fsm.add(gdstk.Reference(dffsnq, (-22.14,-7.655)))
fsm.add(gdstk.Reference(nor2_1, (10.71,-7.345)))
fsm.add(gdstk.Reference(tap, (-15.485,5.935)))
fsm.add(gdstk.Reference(dffrnq, (-0.43,-0.43)))
fsm.add(gdstk.Reference(tap2, (16.845,10.715)))
fsm.add(gdstk.Reference(via_dev, (-6.43,12.875), rotation=pi/2))
fsm.add(gdstk.Reference(via_dev, (13.58,14.125), rotation=pi/2))
fsm.add(gdstk.Reference(via_dev, (-11.73,12.985), rotation=pi/2))
fsm.add(gdstk.Reference(via_dev, (-1.605,12.895), rotation=pi/2))
fsm.add(gdstk.Reference(via_dev, (-5.59,13.505), rotation=pi/2))
fsm.add(gdstk.Reference(via_dev, (-4.615,12.895), rotation=pi/2))
fsm.add(gdstk.Reference(via_dev, (-5.935,8.145), rotation=pi/2))
fsm.add(gdstk.Reference(via_dev, (-10.26,12.535), rotation=pi/2))
fsm.add(gdstk.Reference(via_dev, (-13.48,11.745), rotation=pi/2))
fsm.add(gdstk.Reference(via_dev, (-8.92,7.575), rotation=pi/2))
fsm.add(gdstk.Reference(via_dev, (-12.28,8.165), rotation=pi/2))
fsm.add(gdstk.Reference(via_dev, (-9.55,8.84), rotation=pi/2))
fsm.add(gdstk.Reference(via_dev, (-6.34,7.465), rotation=pi/2))
fsm.add(gdstk.Reference(via_dev, (-2.92,8.135), rotation=pi/2))
fsm.add(gdstk.Reference(via_dev, (9.075,8.135), rotation=pi/2))
fsm.add(gdstk.Reference(via_dev, (10.165,11.805), rotation=pi/2))
fsm.add(gdstk.Reference(via_dev, (-14.16,12.325), rotation=pi/2))
fsm.add(gdstk.Reference(via_dev, (12.835,7.305), rotation=3*pi/2))
fsm.add(gdstk.Reference(via_dev, (-12.8,11.745), rotation=pi/2))
fsm.add(gdstk.Label('S', (-9.735,8.58), layer=34, texttype=10))
fsm.add(gdstk.Label('VSS', (-4.695,10.295), layer=34, texttype=10))
fsm.add(gdstk.Label('CLK', (-5.255,8.335), layer=34, texttype=10))
fsm.add(gdstk.Label('VDD', (-4.695,6.375), layer=34, texttype=10))
fsm.add(gdstk.Label('D', (-2.455,8.335), layer=34, texttype=10))
fsm.add(gdstk.Label('Q', (13.225,7.775), layer=34, texttype=10))
fsm.add(gdstk.Label('SETN', (8.745,8.335), layer=34, texttype=10))
fsm.add(gdstk.Label('I0', (-11.49,8.32), layer=34, texttype=10))
fsm.add(gdstk.Label('I1', (-9.095,8.535), layer=34, texttype=10))
fsm.add(gdstk.Label('Z', (-6.905,8.515), layer=34, texttype=10))
fsm.add(gdstk.Label('TREAT_EN', (-13.11,13.63), layer=34, texttype=10))
fsm.add(gdstk.Label('D', (-1.605,13.085), layer=34, texttype=10))
fsm.add(gdstk.Label('Q', (13.77,13.035), layer=34, texttype=10))
fsm.add(gdstk.Label('RN', (10.155,11.965), layer=34, texttype=10))
fsm.add(gdstk.Label('CLK', (-4.405,13.085), layer=34, texttype=10))
fsm.add(gdstk.Label('VDD', (-3.845,15.045), layer=34, texttype=10))
fsm.add(gdstk.Label('REC_EN', (-13.12,12.545), layer=34, texttype=10))
fsm.add(gdstk.Label('S0', (-14.255,13.58), layer=34, texttype=10))
fsm.add(gdstk.Label('Mb', (-9.85,13.145), layer=34, texttype=10))
fsm.add(gdstk.Label('M', (-10.41,13.145), layer=34, texttype=10))
fsm.add(gdstk.Label('VDD', (-14.85,15.065), layer=34, texttype=10))

lib.write_gds('FSM.gds')
